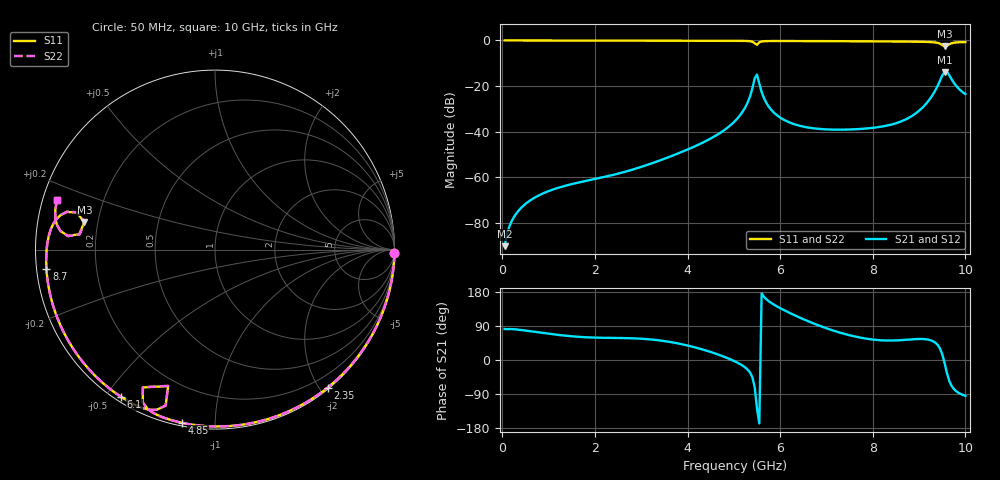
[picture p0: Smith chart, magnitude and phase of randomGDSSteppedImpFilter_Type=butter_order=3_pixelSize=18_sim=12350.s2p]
! freq	dB(S11)	phase(S11)	dB(S12)	phase(S12)
!  dB(S21)	phase(S21)	dB(S22)	phase(S22)
!S-par simulation data
#  GHz  S  DB  R 50
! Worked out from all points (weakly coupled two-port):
!   200 points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, 50 MHz to 10 GHz, reference 50 ohm
!   highest |S21| = -13.82 dB at 9.55 GHz (marker M1); lowest = -90.4 dB at 50 MHz (marker M2)
!   lowest |S11| = -2.6 dB at 9.55 GHz (marker M3), VSWR 6.81, Z = 7.42 + j5.11 ohm
!   |S11| at or under -10 dB: nowhere
!   |S22| runs from -2.6 to 0.0 dB; largest |S21 - S12| = 0
!   S11 on the Smith chart (normalised r, x): 50 MHz: open; 2.35 GHz: 0.02, -2.11; 4.85 GHz: 0.02, -0.83; 6.1 GHz: 0.02, -0.55; 8.7 GHz: 0.03, -0.06; 10 GHz: 0.04, +0.15
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0.05  -0.00 -1.1  -90.37 81.8  -90.37 81.8  -0.00 -1.1
0.2  -0.00 -4.4  -79.49 81.6  -79.49 81.6  -0.00 -4.4
0.4  -0.01 -8.9  -73.68 79.3  -73.68 79.3  -0.01 -8.9
0.75  -0.02 -16.6  -68.46 73.4  -68.46 73.4  -0.02 -16.6
1.75  -0.05 -38.1  -61.95 60.4  -61.95 60.4  -0.05 -38.2
2.35  -0.06 -50.8  -59.27 58.3  -59.27 58.3  -0.06 -50.8
3.4  -0.10 -72.2  -52.73 51.6  -52.73 51.6  -0.10 -72.2
4.85  -0.16 -100.9  -38.53 5.6  -38.53 5.6  -0.16 -100.9
5.05  -0.17 -105.0  -34.86 -5.3  -34.86 -5.3  -0.17 -105.0
5.3  -0.25 -111.2  -27.16 -25.5  -27.16 -25.5  -0.26 -111.2
5.45  -1.24 -117.6  -16.67 -71.9  -16.67 -71.9  -1.25 -117.7
5.5  -1.90 -109.0  -14.97 -127.9  -14.97 -127.9  -1.91 -109.0
5.55  -0.80 -107.6  -18.97 -167.4  -18.97 -167.4  -0.80 -107.5
5.7  -0.28 -113.5  -27.35 160.5  -27.35 160.5  -0.28 -113.6
6.1  -0.24 -122.5  -35.07 130.5  -35.07 130.5  -0.24 -122.5
6.7  -0.27 -134.0  -38.54 97.5  -38.54 97.5  -0.27 -134.0
8.35  -0.44 -166.1  -37.20 51.3  -37.20 51.3  -0.44 -166.1
8.7  -0.49 -173.5  -34.79 53.1  -34.79 53.1  -0.49 -173.6
9.2  -0.66 174.3  -26.61 53.7  -26.61 53.7  -0.67 174.2
9.55  -2.57 168.1  -13.82 -7.6  -13.82 -7.6  -2.60 168.0
9.65  -1.69 174.7  -15.23 -54.5  -15.23 -54.5  -1.71 174.8
10  -0.71 162.5  -23.56 -94.6  -23.56 -94.6  -0.71 162.5
